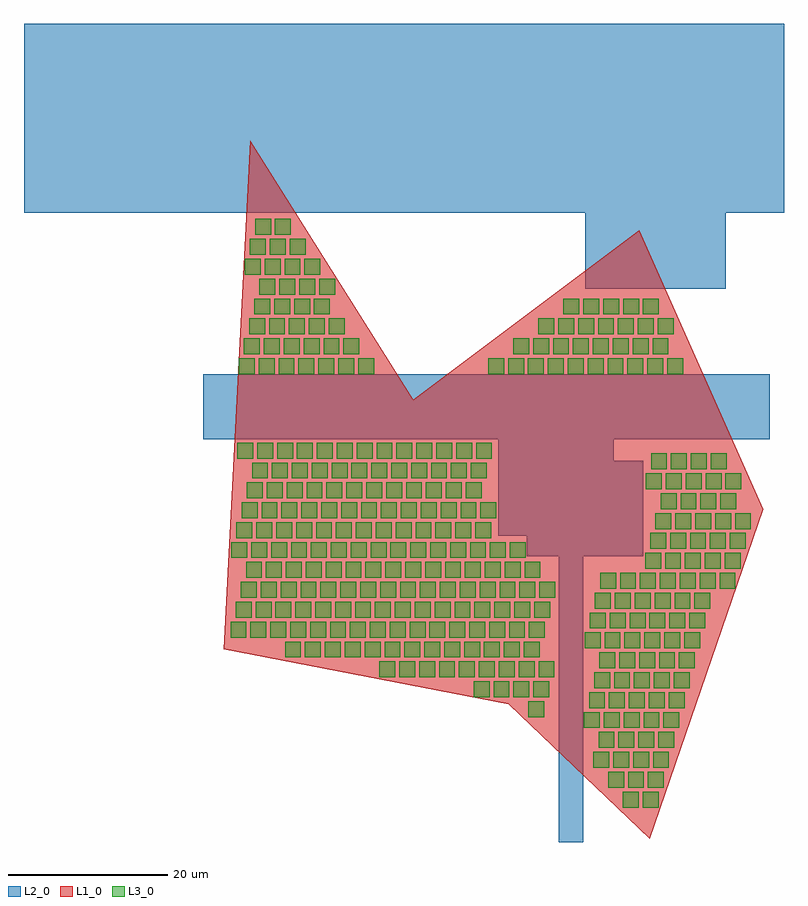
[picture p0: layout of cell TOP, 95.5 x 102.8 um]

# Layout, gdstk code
import gdstk
lib = gdstk.Library(unit=1e-6, precision=1e-09)
def R(c, l, rs):  # rectangles x0, y0, x1, y1
    for r in rs: c.add(gdstk.rectangle(r[:2], r[2:], *l))
def P(c, l, *ps):  # polygons
    for p in ps: c.add(gdstk.Polygon(p, *l))
L1_0 = (1, 0)
L2_0 = (2, 0)
L3_0 = (3, 0)

fill_cell = lib.new_cell('FILL_CELL')
R(fill_cell, L3_0, [(0,0,2,2)])

top = lib.new_cell('TOP')
P(top, L1_0, [(51.8,-25.4),(34.1,-8.5),(-1.7,-1.6),(1.6,62.3),(22.1,29.8),(50.5,51.1),(66.1,16)])
R(top, L2_0, [(40.4,-25.8,43.5,12.7), (36.4,10.1,51,22.1), (32.8,12.7,47.3,25.9), (-4.3,24.8,66.9,33), (43.7,43.7,61.4,56.5), (-26.8,53.3,68.7,77)])
r = gdstk.Reference(fill_cell, (34.681,35.5)); r.repetition = gdstk.Repetition(8, 1, v1=(2.5,0), v2=(0,0)); top.add(r)
top.add(gdstk.Reference(fill_cell, (36.552,-10.107)))
r = gdstk.Reference(fill_cell, (17.852,-5.107)); r.repetition = gdstk.Repetition(9, 1, v1=(2.5,0), v2=(0,0)); top.add(r)
r = gdstk.Reference(fill_cell, (-0.848,-0.107)); r.repetition = gdstk.Repetition(16, 1, v1=(2.5,0), v2=(0,0)); top.add(r)
r = gdstk.Reference(fill_cell, (-0.198,2.393)); r.repetition = gdstk.Repetition(16, 1, v1=(2.5,0), v2=(0,0)); top.add(r)
r = gdstk.Reference(fill_cell, (0.452,4.893)); r.repetition = gdstk.Repetition(16, 1, v1=(2.5,0), v2=(0,0)); top.add(r)
r = gdstk.Reference(fill_cell, (44.748,-16.465)); r.repetition = gdstk.Repetition(4, 1, v1=(2.5,0), v2=(0,0)); top.add(r)
r = gdstk.Reference(fill_cell, (45.398,-13.965)); r.repetition = gdstk.Repetition(4, 1, v1=(2.5,0), v2=(0,0)); top.add(r)
r = gdstk.Reference(fill_cell, (29.702,-7.607)); r.repetition = gdstk.Repetition(4, 1, v1=(2.5,0), v2=(0,0)); top.add(r)
r = gdstk.Reference(fill_cell, (53.198,16.035)); r.repetition = gdstk.Repetition(4, 1, v1=(2.5,0), v2=(0,0)); top.add(r)
r = gdstk.Reference(fill_cell, (51.998,21.035)); r.repetition = gdstk.Repetition(4, 1, v1=(2.5,0), v2=(0,0)); top.add(r)
r = gdstk.Reference(fill_cell, (2.14,40.5)); r.repetition = gdstk.Repetition(4, 1, v1=(2.5,0), v2=(0,0)); top.add(r)
r = gdstk.Reference(fill_cell, (2.79,43)); r.repetition = gdstk.Repetition(4, 1, v1=(2.5,0), v2=(0,0)); top.add(r)
r = gdstk.Reference(fill_cell, (0.94,45.5)); r.repetition = gdstk.Repetition(4, 1, v1=(2.5,0), v2=(0,0)); top.add(r)
r = gdstk.Reference(fill_cell, (6.002,-2.607)); r.repetition = gdstk.Repetition(13, 1, v1=(2.5,0), v2=(0,0)); top.add(r)
r = gdstk.Reference(fill_cell, (-0.098,12.393)); r.repetition = gdstk.Repetition(13, 1, v1=(2.5,0), v2=(0,0)); top.add(r)
r = gdstk.Reference(fill_cell, (0.552,14.893)); r.repetition = gdstk.Repetition(13, 1, v1=(2.5,0), v2=(0,0)); top.add(r)
r = gdstk.Reference(fill_cell, (0.002,22.393)); r.repetition = gdstk.Repetition(13, 1, v1=(2.5,0), v2=(0,0)); top.add(r)
r = gdstk.Reference(fill_cell, (1.102,7.393)); r.repetition = gdstk.Repetition(15, 1, v1=(2.5,0), v2=(0,0)); top.add(r)
r = gdstk.Reference(fill_cell, (-0.748,9.893)); r.repetition = gdstk.Repetition(15, 1, v1=(2.5,0), v2=(0,0)); top.add(r)
r = gdstk.Reference(fill_cell, (1.202,17.393)); r.repetition = gdstk.Repetition(12, 1, v1=(2.5,0), v2=(0,0)); top.add(r)
r = gdstk.Reference(fill_cell, (1.852,19.893)); r.repetition = gdstk.Repetition(12, 1, v1=(2.5,0), v2=(0,0)); top.add(r)
r = gdstk.Reference(fill_cell, (48.448,-21.465)); r.repetition = gdstk.Repetition(2, 1, v1=(2.5,0), v2=(0,0)); top.add(r)
r = gdstk.Reference(fill_cell, (2.24,50.5)); r.repetition = gdstk.Repetition(2, 1, v1=(2.5,0), v2=(0,0)); top.add(r)
r = gdstk.Reference(fill_cell, (46.598,-18.965)); r.repetition = gdstk.Repetition(3, 1, v1=(2.5,0), v2=(0,0)); top.add(r)
r = gdstk.Reference(fill_cell, (1.59,48)); r.repetition = gdstk.Repetition(3, 1, v1=(2.5,0), v2=(0,0)); top.add(r)
r = gdstk.Reference(fill_cell, (43.548,-11.465)); r.repetition = gdstk.Repetition(5, 1, v1=(2.5,0), v2=(0,0)); top.add(r)
r = gdstk.Reference(fill_cell, (44.198,-8.965)); r.repetition = gdstk.Repetition(5, 1, v1=(2.5,0), v2=(0,0)); top.add(r)
r = gdstk.Reference(fill_cell, (44.848,-6.465)); r.repetition = gdstk.Repetition(5, 1, v1=(2.5,0), v2=(0,0)); top.add(r)
r = gdstk.Reference(fill_cell, (45.498,-3.965)); r.repetition = gdstk.Repetition(5, 1, v1=(2.5,0), v2=(0,0)); top.add(r)
r = gdstk.Reference(fill_cell, (51.248,8.535)); r.repetition = gdstk.Repetition(5, 1, v1=(2.5,0), v2=(0,0)); top.add(r)
r = gdstk.Reference(fill_cell, (51.898,11.035)); r.repetition = gdstk.Repetition(5, 1, v1=(2.5,0), v2=(0,0)); top.add(r)
r = gdstk.Reference(fill_cell, (52.548,13.535)); r.repetition = gdstk.Repetition(5, 1, v1=(2.5,0), v2=(0,0)); top.add(r)
r = gdstk.Reference(fill_cell, (51.348,18.535)); r.repetition = gdstk.Repetition(5, 1, v1=(2.5,0), v2=(0,0)); top.add(r)
r = gdstk.Reference(fill_cell, (1.49,38)); r.repetition = gdstk.Repetition(5, 1, v1=(2.5,0), v2=(0,0)); top.add(r)
r = gdstk.Reference(fill_cell, (40.981,40.5)); r.repetition = gdstk.Repetition(5, 1, v1=(2.5,0), v2=(0,0)); top.add(r)
r = gdstk.Reference(fill_cell, (43.648,-1.465)); r.repetition = gdstk.Repetition(6, 1, v1=(2.5,0), v2=(0,0)); top.add(r)
r = gdstk.Reference(fill_cell, (44.298,1.035)); r.repetition = gdstk.Repetition(6, 1, v1=(2.5,0), v2=(0,0)); top.add(r)
r = gdstk.Reference(fill_cell, (44.948,3.535)); r.repetition = gdstk.Repetition(6, 1, v1=(2.5,0), v2=(0,0)); top.add(r)
r = gdstk.Reference(fill_cell, (0.84,35.5)); r.repetition = gdstk.Repetition(6, 1, v1=(2.5,0), v2=(0,0)); top.add(r)
r = gdstk.Reference(fill_cell, (45.598,6.035)); r.repetition = gdstk.Repetition(7, 1, v1=(2.5,0), v2=(0,0)); top.add(r)
r = gdstk.Reference(fill_cell, (0.19,33)); r.repetition = gdstk.Repetition(7, 1, v1=(2.5,0), v2=(0,0)); top.add(r)
r = gdstk.Reference(fill_cell, (37.831,38)); r.repetition = gdstk.Repetition(7, 1, v1=(2.5,0), v2=(0,0)); top.add(r)
r = gdstk.Reference(fill_cell, (31.531,33)); r.repetition = gdstk.Repetition(10, 1, v1=(2.5,0), v2=(0,0)); top.add(r)

lib.write_gds('TOP.gds')
